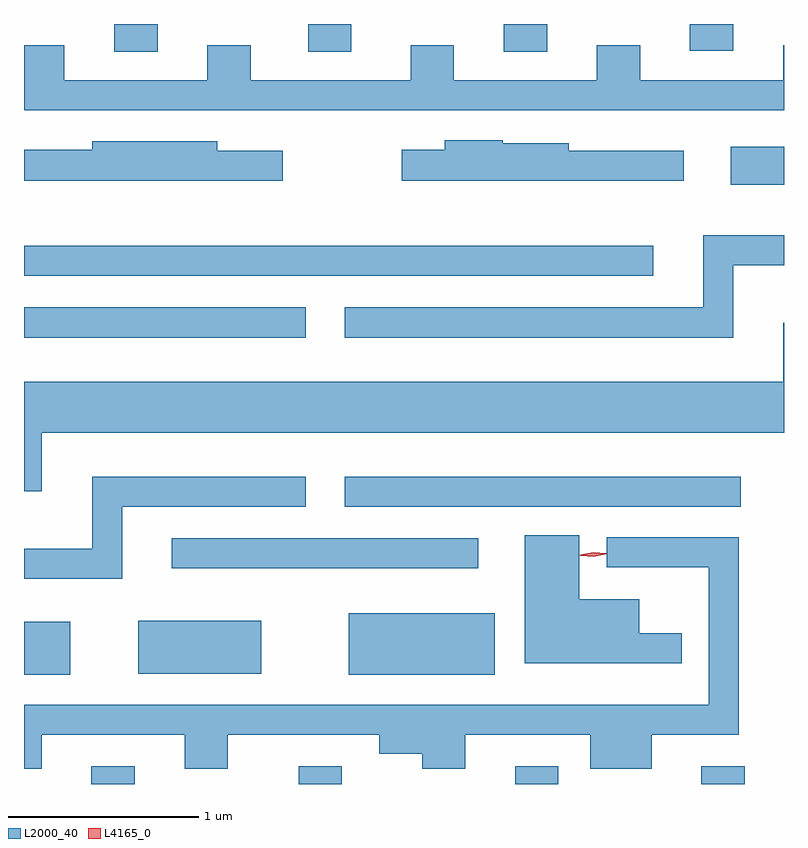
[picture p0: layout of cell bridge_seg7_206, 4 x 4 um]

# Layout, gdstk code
import gdstk
lib = gdstk.Library(unit=1e-6, precision=1e-09)
def R(c, l, rs):  # rectangles x0, y0, x1, y1
    for r in rs: c.add(gdstk.rectangle(r[:2], r[2:], *l))
def P(c, l, *ps):  # polygons
    for p in ps: c.add(gdstk.Polygon(p, *l))
L2000_40 = (2000, 40)
L4165_0 = (4165, 0)

bridge_seg7_206 = lib.new_cell('bridge_seg7_206')
R(bridge_seg7_206, L2000_40, [(1523.921,1694.706,1524.149,1694.799), (1525.011,1694.706,1525.239,1694.799), (1526.151,1694.706,1526.379,1694.799), (1527.131,1694.706,1527.359,1694.799), (1523.566,1695.281,1523.809,1695.559), (1525.276,1695.281,1526.044,1695.604), (1524.166,1695.286,1524.814,1695.564), (1524.343,1695.841,1525.958,1695.999), (1525.253,1696.166,1527.338,1696.324), (1523.566,1697.056,1525.048,1697.214), (1523.566,1697.381,1526.878,1697.539), (1527.286,1697.861,1527.566,1698.059), (1524.041,1698.561,1524.269,1698.706), (1525.061,1698.561,1525.289,1698.706), (1526.091,1698.561,1526.319,1698.706), (1527.071,1698.566,1527.299,1698.706)])
P(bridge_seg7_206, L2000_40, [(1527.566,1698.594),(1527.561,1698.594),(1527.561,1698.409),(1526.809,1698.409),(1526.809,1698.594),(1526.581,1698.594),(1526.581,1698.409),(1525.829,1698.409),(1525.829,1698.594),(1525.601,1698.594),(1525.601,1698.409),(1524.759,1698.409),(1524.759,1698.594),(1524.531,1698.594),(1524.531,1698.409),(1523.779,1698.409),(1523.779,1698.594),(1523.566,1698.594),(1523.566,1698.251),(1527.566,1698.251)],
  [(1527.038,1698.039),(1526.434,1698.039),(1526.434,1698.079),(1526.085,1698.079),(1526.085,1698.094),(1525.781,1698.094),(1525.781,1698.044),(1525.553,1698.044),(1525.553,1697.881),(1527.038,1697.881)],
  [(1524.928,1698.039),(1524.584,1698.039),(1524.584,1698.089),(1523.926,1698.089),(1523.926,1698.044),(1523.566,1698.044),(1523.566,1697.881),(1524.928,1697.881)],
  [(1527.299,1697.436),(1527.566,1697.436),(1527.566,1697.594),(1527.141,1697.594),(1527.141,1697.214),(1525.253,1697.214),(1525.253,1697.056),(1527.299,1697.056)],
  [(1523.659,1696.556),(1527.566,1696.556),(1527.566,1697.134),(1527.561,1697.134),(1527.561,1696.824),(1523.566,1696.824),(1523.566,1696.246),(1523.659,1696.246)],
  [(1524.084,1696.166),(1525.048,1696.166),(1525.048,1696.324),(1523.926,1696.324),(1523.926,1695.944),(1523.566,1695.944),(1523.566,1695.786),(1524.084,1695.786)],
  [(1527.028,1695.499),(1526.804,1695.499),(1526.804,1695.679),(1526.489,1695.679),(1526.489,1696.014),(1526.201,1696.014),(1526.201,1695.341),(1527.028,1695.341)],
  [(1523.659,1694.966),(1524.411,1694.966),(1524.411,1694.786),(1524.639,1694.786),(1524.639,1694.966),(1525.436,1694.966),(1525.436,1694.866),(1525.661,1694.866),(1525.661,1694.786),(1525.889,1694.786),(1525.889,1694.966),(1526.546,1694.966),(1526.546,1694.786),(1526.869,1694.786),(1526.869,1694.966),(1527.329,1694.966),(1527.329,1696.004),(1526.633,1696.004),(1526.633,1695.846),(1527.171,1695.846),(1527.171,1695.124),(1523.566,1695.124),(1523.566,1694.786),(1523.659,1694.786)])
P(bridge_seg7_206, L4165_0, [(1526.562,1695.906),(1526.493,1695.911),(1526.492,1695.911),(1526.493,1695.912),(1526.561,1695.925),(1526.63,1695.92),(1526.631,1695.92),(1526.63,1695.919)],
  [(1526.562,1695.902),(1526.496,1695.907),(1526.496,1695.908),(1526.496,1695.908),(1526.561,1695.922),(1526.627,1695.917),(1526.628,1695.917),(1526.627,1695.916)])

lib.write_gds('bridge_seg7_206.gds')
